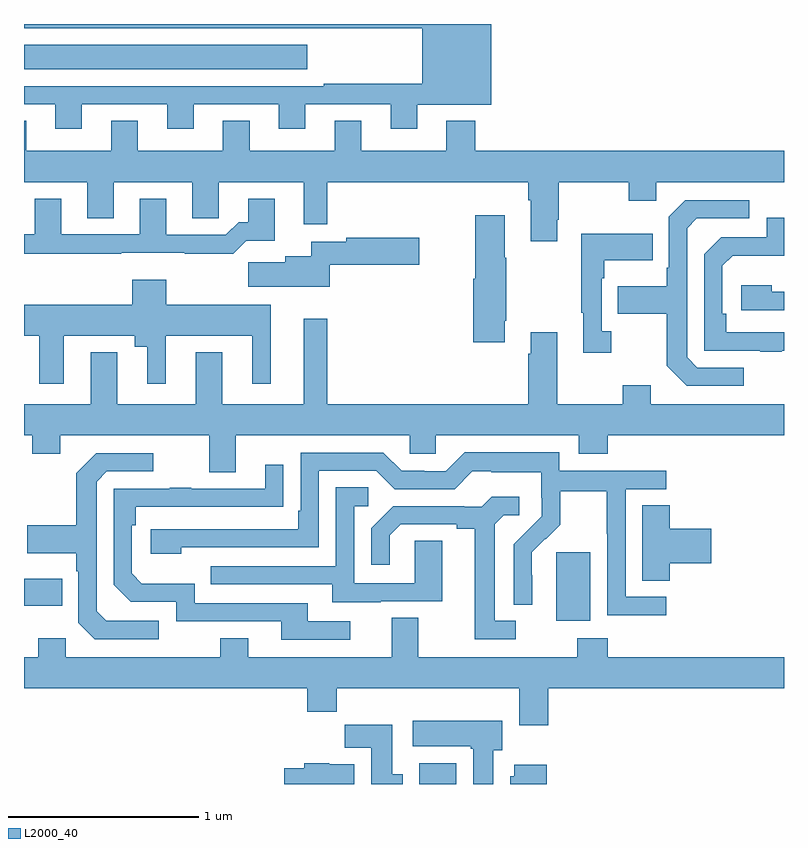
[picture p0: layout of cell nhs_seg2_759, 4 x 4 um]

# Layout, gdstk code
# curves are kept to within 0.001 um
import gdstk
lib = gdstk.Library(unit=1e-6, precision=1e-09)
def R(c, l, rs):  # rectangles x0, y0, x1, y1
    for r in rs: c.add(gdstk.rectangle(r[:2], r[2:], *l))
def P(c, l, *ps):  # polygons
    for p in ps: c.add(gdstk.Polygon(p, *l))
L2000_40 = (2000, 40)

nhs_seg2_759 = lib.new_cell('nhs_seg2_759')
R(nhs_seg2_759, L2000_40, [(151.079,645.8,151.276,645.91), (151.802,646.658,151.981,647.019), (149,646.739,149.201,646.879), (149,649.562,150.49,649.69)])
P(nhs_seg2_759, L2000_40, [(149.305,649.377),(149.753,649.377),(149.753,649.248),(149.893,649.248),(149.893,649.377),(150.341,649.377),(150.341,649.248),(150.481,649.248),(150.481,649.377),(150.929,649.377),(150.929,649.248),(151.069,649.248),(151.069,649.376),(151.459,649.376),(151.459,649.8),(149,649.8),(149,649.778),(151.097,649.778),(151.097,649.486),(150.577,649.486),(150.577,649.473),(149,649.473),(149,649.377),(149.165,649.377),(149.165,649.248),(149.305,649.248)],
  [(151.223,649.291),(151.223,649.132),(150.775,649.132),(150.775,649.292),(150.635,649.292),(150.635,649.132),(150.187,649.132),(150.187,649.292),(150.047,649.292),(150.047,649.132),(149.599,649.132),(149.599,649.292),(149.459,649.292),(149.459,649.132),(149.011,649.132),(149.011,649.292),(149,649.292),(149,648.968),(149.333,648.968),(149.333,648.778),(149.473,648.778),(149.473,648.968),(149.885,648.968),(149.885,648.778),(150.024,648.778),(150.024,648.968),(150.473,648.968),(150.473,648.747),(150.595,648.747),(150.595,648.968),(151.655,648.968),(151.655,648.872),(151.667,648.872),(151.667,648.657),(151.807,648.657),(151.807,648.769),(151.815,648.769),(151.815,648.968),(152.182,648.968),(152.182,648.869),(152.328,648.869),(152.328,648.968),(153,648.968),(153,649.132),(151.376,649.132),(151.376,649.291)],
  [(150.17,648.659),(150.319,648.659),(150.319,648.88),(150.179,648.88),(150.179,648.757),(150.13,648.757),(150.063,648.69),(149.749,648.69),(149.749,648.88),(149.609,648.88),(149.609,648.693),(149.197,648.693),(149.197,648.88),(149.057,648.88),(149.057,648.693),(149,648.693),(149,648.592),(149.513,648.592),(149.513,648.596),(149.845,648.596),(149.845,648.59),(150.101,648.59)],
  [(152.788,647.991),(152.544,647.991),(152.49,648.045),(152.49,648.726),(152.541,648.777),(152.818,648.777),(152.818,648.873),(152.481,648.873),(152.394,648.786),(152.394,648.517),(152.382,648.517),(152.382,648.421),(152.125,648.421),(152.125,648.274),(152.382,648.274),(152.382,648.001),(152.487,647.895),(152.788,647.895)],
  [(151.531,648.238),(151.539,648.238),(151.539,648.569),(151.531,648.569),(151.531,648.793),(151.376,648.793),(151.376,648.459),(151.364,648.459),(151.364,648.126),(151.531,648.126)],
  [(152.987,648.081),(153,648.081),(153,648.177),(152.696,648.177),(152.696,648.274),(152.676,648.274),(152.676,648.528),(152.729,648.581),(153,648.581),(153,648.78),(152.91,648.78),(152.91,648.678),(152.67,648.678),(152.58,648.588),(152.58,648.081),(152.875,648.081),(152.875,648.076),(152.987,648.076)],
  [(152.092,648.182),(152.04,648.182),(152.04,648.461),(152.053,648.461),(152.053,648.557),(152.309,648.557),(152.309,648.697),(151.932,648.697),(151.932,648.281),(151.943,648.281),(151.943,648.069),(152.092,648.069)],
  [(150.609,648.533),(151.081,648.533),(151.081,648.675),(150.696,648.675),(150.696,648.655),(150.513,648.655),(150.513,648.577),(150.374,648.577),(150.374,648.545),(150.18,648.545),(150.18,648.416),(150.609,648.416)],
  [(149.209,648.158),(149.582,648.158),(149.582,648.101),(149.648,648.101),(149.648,647.907),(149.746,647.907),(149.746,648.158),(150.2,648.158),(150.2,647.907),(150.298,647.907),(150.298,648.322),(149.748,648.322),(149.748,648.454),(149.57,648.454),(149.57,648.322),(149,648.322),(149,648.158),(149.081,648.158),(149.081,647.907),(149.209,647.907)],
  [(153,648.39),(152.936,648.39),(152.936,648.424),(152.775,648.424),(152.775,648.294),(153,648.294)],
  [(150.115,647.636),(151.029,647.636),(151.029,647.538),(151.167,647.538),(151.167,647.636),(151.919,647.636),(151.919,647.537),(152.072,647.537),(152.072,647.636),(153,647.636),(153,647.8),(152.299,647.8),(152.299,647.899),(152.152,647.899),(152.152,647.8),(151.807,647.8),(151.807,648.178),(151.667,648.178),(151.667,648.065),(151.655,648.065),(151.655,647.8),(150.595,647.8),(150.595,648.25),(150.473,648.25),(150.473,647.8),(150.043,647.8),(150.043,648.073),(149.903,648.073),(149.903,647.8),(149.491,647.8),(149.491,648.073),(149.351,648.073),(149.351,647.8),(149,647.8),(149,647.636),(149.044,647.636),(149.044,647.537),(149.191,647.537),(149.191,647.636),(149.975,647.636),(149.975,647.442),(150.115,647.442)],
  [(152.38,646.785),(152.166,646.785),(152.166,647.352),(152.38,647.352),(152.38,647.448),(151.818,647.448),(151.818,647.545),(151.321,647.545),(151.221,647.445),(151.106,647.445),(151.106,647.448),(150.987,647.448),(150.891,647.544),(150.456,647.544),(150.456,647.239),(150.443,647.239),(150.443,647.142),(149.667,647.142),(149.667,647.012),(149.828,647.012),(149.828,647.046),(150.552,647.046),(150.552,647.448),(150.855,647.448),(150.951,647.352),(151.266,647.352),(151.359,647.445),(151.459,647.445),(151.459,647.441),(151.722,647.441),(151.722,647.307),(151.724,647.307),(151.724,647.21),(151.578,647.062),(151.578,646.744),(151.674,646.744),(151.673,647.021),(151.743,647.091),(151.746,647.088),(151.823,647.165),(151.823,647.34),(152.068,647.34),(152.068,647.116),(152.07,647.116),(152.07,646.687),(152.38,646.687)],
  [(149.71,646.659),(149.433,646.659),(149.382,646.71),(149.382,647.391),(149.436,647.445),(149.68,647.445),(149.68,647.541),(149.379,647.541),(149.274,647.435),(149.274,647.163),(149.017,647.163),(149.017,647.015),(149.274,647.015),(149.274,646.919),(149.286,646.919),(149.286,646.65),(149.373,646.563),(149.71,646.563)],
  [(150.718,646.656),(150.493,646.656),(150.493,646.752),(149.898,646.752),(149.898,646.855),(149.621,646.855),(149.568,646.908),(149.568,647.162),(149.588,647.162),(149.588,647.259),(150.365,647.26),(150.365,647.479),(150.269,647.479),(150.269,647.355),(149.879,647.355),(149.879,647.36),(149.767,647.36),(149.767,647.355),(149.472,647.355),(149.472,646.848),(149.562,646.758),(149.802,646.758),(149.802,646.656),(150.353,646.656),(150.353,646.56),(150.718,646.56)],
  [(150.877,646.761),(151.201,646.761),(151.201,647.081),(151.056,647.081),(151.056,646.857),(150.738,646.857),(150.738,647.262),(150.811,647.262),(150.811,647.363),(150.642,647.363),(150.642,646.947),(149.983,646.947),(149.983,646.851),(150.623,646.851),(150.623,646.757),(150.877,646.757)],
  [(151.588,646.659),(151.477,646.659),(151.477,647.167),(151.524,647.214),(151.606,647.214),(151.606,647.311),(151.462,647.311),(151.41,647.259),(151.316,647.259),(151.316,647.262),(150.944,647.262),(150.828,647.146),(150.828,646.953),(150.925,646.953),(150.925,647.109),(150.982,647.166),(151.277,647.166),(151.277,647.144),(151.373,647.144),(151.373,646.563),(151.588,646.563)],
  [(152.399,646.961),(152.617,646.961),(152.617,647.144),(152.399,647.144),(152.399,647.267),(152.255,647.267),(152.255,646.87),(152.399,646.87)],
  [(151.76,646.304),(153,646.304),(153,646.468),(152.072,646.468),(152.072,646.567),(151.912,646.567),(151.912,646.468),(151.075,646.468),(151.075,646.676),(150.935,646.676),(150.935,646.468),(150.181,646.468),(150.181,646.567),(150.034,646.567),(150.034,646.468),(149.22,646.468),(149.22,646.567),(149.074,646.567),(149.074,646.468),(149,646.468),(149,646.304),(150.491,646.304),(150.491,646.18),(150.647,646.18),(150.647,646.304),(151.607,646.304),(151.607,646.11),(151.76,646.11)],
  [(151.471,645.978),(151.516,645.978),(151.516,646.132),(151.047,646.132),(151.047,645.998),(151.351,645.998),(151.351,645.985),(151.364,645.985),(151.364,645.8),(151.471,645.8)],
  [(150.994,645.852),(150.937,645.852),(150.937,646.111),(150.688,646.111),(150.688,645.992),(150.827,645.992),(150.827,645.8),(150.994,645.8)],
  [(150.739,645.904),(150.606,645.904),(150.606,645.91),(150.476,645.91),(150.476,645.882),(150.369,645.882),(150.369,645.8),(150.739,645.8)],
  [(151.751,645.901),(151.58,645.901),(151.58,645.84),(151.559,645.84),(151.559,645.8),(151.751,645.8)])

lib.write_gds('nhs_seg2_759.gds')
